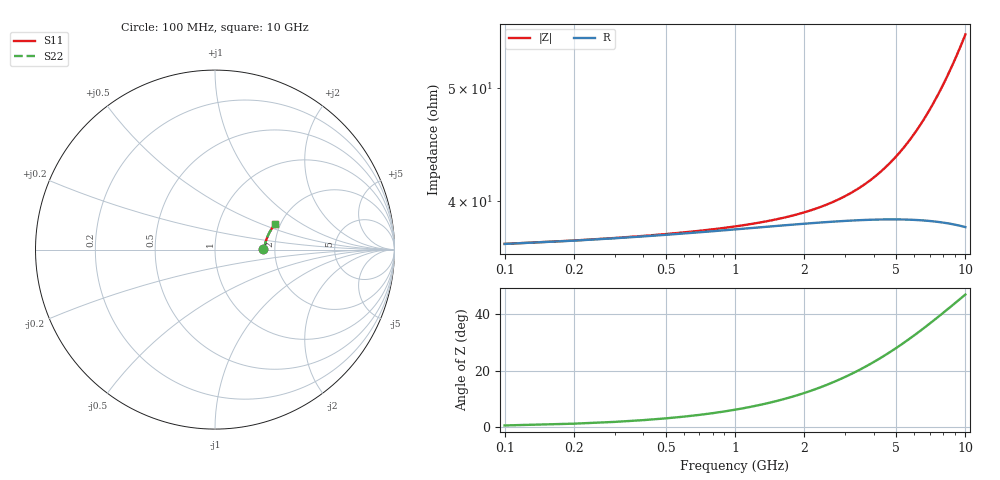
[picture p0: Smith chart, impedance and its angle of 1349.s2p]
# Hz S RI R 50.00
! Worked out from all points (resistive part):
!   100 points, 100 MHz to 10 GHz, reference 50 ohm
!   read as one part in series: R = 36.8 ohm at 100 MHz
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1e8  0.269 0.00166  0.731 -0.00266  0.731 -0.00266  0.269 0.00166
2e8  0.2703 0.0033  0.7297 -0.0053  0.7297 -0.0053  0.2703 0.0033
3e8  0.2712 0.00493  0.7288 -0.00793  0.7288 -0.00793  0.2712 0.00493
5e8  0.2727 0.00818  0.7273 -0.0132  0.7273 -0.0132  0.2727 0.00818
7e8  0.2738 0.0114  0.7261 -0.0184  0.7261 -0.0184  0.2738 0.0114
1e9  0.2753 0.0162  0.7246 -0.0262  0.7246 -0.0262  0.2753 0.0162
1.8e9  0.2787 0.0289  0.7211 -0.0469  0.7211 -0.0469  0.2787 0.0289
2.2e9  0.2803 0.0351  0.7194 -0.0571  0.7194 -0.0571  0.2803 0.0351
2.6e9  0.2821 0.0414  0.7175 -0.0674  0.7175 -0.0674  0.2821 0.0414
3e9  0.2839 0.0475  0.7156 -0.0775  0.7156 -0.0775  0.2839 0.0475
3.4e9  0.2858 0.0536  0.7135 -0.0876  0.7135 -0.0876  0.2858 0.0536
3.8e9  0.2878 0.0597  0.7113 -0.0977  0.7113 -0.0977  0.2878 0.0597
4.2e9  0.29 0.0656  0.7089 -0.1077  0.7089 -0.1077  0.29 0.0656
4.6e9  0.2923 0.0715  0.7064 -0.1176  0.7064 -0.1176  0.2923 0.0715
5.1e9  0.2954 0.0788  0.7031 -0.1299  0.7031 -0.1299  0.2954 0.0788
5.9e9  0.3008 0.0902  0.6972 -0.1492  0.6972 -0.1492  0.3008 0.0902
6.7e9  0.3067 0.1012  0.6907 -0.1683  0.6907 -0.1683  0.3067 0.1012
7.5e9  0.3132 0.1118  0.6836 -0.1869  0.6836 -0.1869  0.3132 0.1118
7.9e9  0.3166 0.1169  0.6798 -0.1961  0.6798 -0.1961  0.3166 0.1169
8.4e9  0.3211 0.1231  0.6748 -0.2074  0.6748 -0.2074  0.3211 0.1231
9.2e9  0.3287 0.1328  0.6664 -0.2251  0.6664 -0.2251  0.3287 0.1328
1e10  0.3367 0.1419  0.6575 -0.2423  0.6575 -0.2423  0.3367 0.1419
